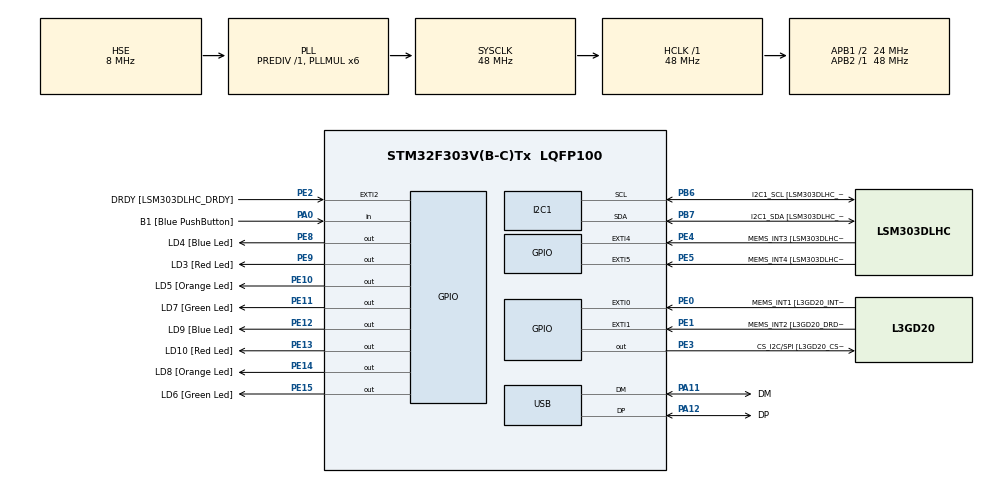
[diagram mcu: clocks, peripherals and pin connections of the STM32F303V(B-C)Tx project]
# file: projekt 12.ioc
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I2C1.Timing=0x00201D2B
I2C1.Timing-I2C=0x2000090E
Mcu.Family=STM32F3
Mcu.Name=STM32F303V(B-C)Tx
Mcu.Package=LQFP100
NVIC.PriorityGroup=NVIC_PRIORITYGROUP_0
NVIC.USB_LP_CAN_RX0_IRQn=true\:0\:0\:false\:false\:true\:false\:true\:true
PA0.GPIO_Label=B1 [Blue PushButton]
PA0.Signal=GPIO_Input
PA11.GPIO_Label=DM
PA11.Mode=Device
PA11.Signal=USB_DM
PA12.GPIO_Label=DP
PA12.Mode=Device
PA12.Signal=USB_DP
PA13.GPIO_Label=SWDIO
PA13.Mode=Serial_Wire
PA13.Signal=SYS_JTMS-SWDIO
PA14.GPIO_Label=SWCLK
PA14.Mode=Serial_Wire
PA14.Signal=SYS_JTCK-SWCLK
PA5.GPIO_Label=SPI1_SCK [L3GD20_SCL/SPC]
PA5.Signal=SPI1_SCK
PA6.GPIO_Label=SPI1_MISO [L3GD20_SA0/SDO]
PA6.Signal=SPI1_MISO
PA7.GPIO_Label=SPI1_MISO [L3GD20_SDA/SDI/SDO]
PA7.Signal=SPI1_MOSI
PB3.GPIO_Label=SWO
PB3.Signal=SYS_JTDO-TRACESWO
PB6.GPIO_Label=I2C1_SCL [LSM303DLHC_SCL]
PB6.GPIO_Pu=GPIO_PULLUP
PB6.Mode=I2C
PB6.Signal=I2C1_SCL
PB7.GPIO_Label=I2C1_SDA [LSM303DLHC_SDA]
PB7.GPIO_Pu=GPIO_PULLUP
PB7.Mode=I2C
PB7.Signal=I2C1_SDA
PC14-OSC32_IN.GPIO_Label=OSC32_IN
PC14-OSC32_IN.Signal=RCC_OSC32_IN
PC15-OSC32_OUT.GPIO_Label=OSC32_OUT
PC15-OSC32_OUT.Signal=RCC_OSC32_OUT
PE0.GPIO_Label=MEMS_INT1 [L3GD20_INT1]
PE0.GPIO_ModeDefaultEXTI=GPIO_MODE_EVT_RISING
PE0.Signal=GPXTI0
PE1.GPIO_Label=MEMS_INT2 [L3GD20_DRDY/INT2]
PE1.GPIO_ModeDefaultEXTI=GPIO_MODE_EVT_RISING
PE1.Signal=GPXTI1
PE10.GPIO_Label=LD5 [Orange Led]
PE10.Signal=GPIO_Output
PE11.GPIO_Label=LD7 [Green Led]
PE11.Signal=GPIO_Output
PE12.GPIO_Label=LD9 [Blue Led]
PE12.Signal=GPIO_Output
PE13.GPIO_Label=LD10 [Red Led]
PE13.Signal=GPIO_Output
PE14.GPIO_Label=LD8 [Orange Led]
PE14.Signal=GPIO_Output
PE15.GPIO_Label=LD6 [Green Led]
PE15.Signal=GPIO_Output
PE2.GPIO_Label=DRDY [LSM303DLHC_DRDY]
PE2.GPIO_ModeDefaultEXTI=GPIO_MODE_EVT_RISING
PE2.Signal=GPXTI2
PE3.GPIO_Label=CS_I2C/SPI [L3GD20_CS_I2C/SPI]
PE3.Signal=GPIO_Output
PE4.GPIO_Label=MEMS_INT3 [LSM303DLHC_INT1]
PE4.GPIO_ModeDefaultEXTI=GPIO_MODE_EVT_RISING
PE4.Signal=GPXTI4
PE5.GPIO_Label=MEMS_INT4 [LSM303DLHC_INT2]
PE5.GPIO_ModeDefaultEXTI=GPIO_MODE_EVT_RISING
PE5.Signal=GPXTI5
PE8.GPIO_Label=LD4 [Blue Led]
PE8.Signal=GPIO_Output
PE9.GPIO_Label=LD3 [Red Led]
PE9.Signal=GPIO_Output
PF0-OSC_IN.GPIO_Label=OSC_IN
PF0-OSC_IN.Mode=HSE-External-Clock-Source
PF0-OSC_IN.Signal=RCC_OSC_IN
PF1-OSC_OUT.GPIO_Label=OSC_OUT
PF1-OSC_OUT.Signal=RCC_OSC_OUT
ProjectManager.HeapSize=0x200
ProjectManager.StackSize=0x400
ProjectManager.TargetToolchain=STM32CubeIDE
RCC.AHBFreq_Value=48000000
RCC.APB1CLKDivider=RCC_HCLK_DIV2
RCC.APB1Freq_Value=24000000
RCC.APB1TimFreq_Value=48000000
RCC.APB2Freq_Value=48000000
RCC.APB2TimFreq_Value=48000000
RCC.CortexFreq_Value=48000000
RCC.HCLKFreq_Value=48000000
RCC.HSE_VALUE=8000000
RCC.HSI_VALUE=8000000
RCC.LSE_VALUE=32768
RCC.PLLMUL=RCC_PLL_MUL6
RCC.SYSCLKFreq_VALUE=48000000
RCC.SYSCLKSourceVirtual=RCC_SYSCLKSOURCE_PLLCLK
RCC.USBFreq_Value=48000000
TIM2.Period=10-1
TIM2.Prescaler=7200-1
TIM3.Period=100-1
TIM3.Prescaler=7200-1
USB_DEVICE.CLASS_NAME_FS=CDC
USB_DEVICE.VirtualMode=Cdc
USB_DEVICE.VirtualModeFS=Cdc_FS
VP_TIM2_VS_ClockSourceINT.Mode=Internal
VP_TIM3_VS_ClockSourceINT.Mode=Internal
VP_USB_DEVICE_VS_USB_DEVICE_CDC_FS.Mode=CDC_FS
board=STM32F3DISCOVERY

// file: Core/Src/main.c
/* USER CODE BEGIN Header */
/**
  ******************************************************************************
  * @file           : main.c
  * @brief          : Main program body
  ******************************************************************************
  * @attention
  *
  * Copyright (c) 2026 STMicroelectronics.
  * All rights reserved.
  *
  * This software is licensed under terms that can be found in the LICENSE file
  * in the root directory of this software component.
  * If no LICENSE file comes with this software, it is provided AS-IS.
  *
  ******************************************************************************
  */
/* USER CODE END Header */
#include "main.h"
#include "usb_device.h"
#include "usbd_cdc_if.h"
#define ACC_ADDR (0x19 << 1)
#define MAG_ADDR (0x1E << 1)
uint8_t state = 0;

I2C_HandleTypeDef hi2c1;

TIM_HandleTypeDef htim2;
TIM_HandleTypeDef htim3;

void SystemClock_Config(void);
static void MX_GPIO_Init(void);
static void MX_I2C1_Init(void);
static void MX_TIM2_Init(void);
static void MX_TIM3_Init(void);

/* USER CODE BEGIN 0 */
void MAG_Init(void)
{
    uint8_t data;

    // 🔹 CRA_REG_M (0x00)
    // 0x14 = 30 Hz
    data = 0x14;
    HAL_I2C_Mem_Write(&hi2c1, MAG_ADDR, 0x00, 1, &data, 1, HAL_MAX_DELAY);

    // 🔹 CRB_REG_M (0x01)
    // 0x20 = gain (±1.3 Gauss)
    data = 0x20;
    HAL_I2C_Mem_Write(&hi2c1, MAG_ADDR, 0x01, 1, &data, 1, HAL_MAX_DELAY);

    // 🔹 MR_REG_M (0x02)
    // 0x00 = continuous mode
    data = 0x00;
    HAL_I2C_Mem_Write(&hi2c1, MAG_ADDR, 0x02, 1, &data, 1, HAL_MAX_DELAY);
}
void ACC_Init(void)
{
    uint8_t data;

    // 🔹 CTRL_REG1 (0x20)
    // 0x57 = 100 Hz, wszystkie osie włączone
    data = 0x57;
    HAL_I2C_Mem_Write(&hi2c1, ACC_ADDR, 0x20, 1, &data, 1, HAL_MAX_DELAY);

    // 🔹 CTRL_REG4 (0x23)
    // 0x08 = High Resolution, ±2g
    data = 0x08;
    HAL_I2C_Mem_Write(&hi2c1, ACC_ADDR, 0x23, 1, &data, 1, HAL_MAX_DELAY);
}
/* USER CODE END 0 */

volatile int16_t ax, ay, az;
void acc_read(void)
{
	uint8_t data[6];
	HAL_I2C_Mem_Read(&hi2c1, ACC_ADDR, 0X28 | 0X80, 1, data, 6, HAL_MAX_DELAY);
	ax = data[0] | (data[1] << 8);
	ay = data[2] | (data[3] << 8);
	az = data[4] | (data[5] << 8);
}
volatile int16_t ax_m, ay_m, az_m;
void mag_read(void)
{
	uint8_t mag_data[6];
	HAL_I2C_Mem_Read(&hi2c1, MAG_ADDR, 0x03, 1, mag_data, 6, HAL_MAX_DELAY);
	ax_m = (mag_data[0] << 8) | mag_data[1];
	az_m = (mag_data[2] << 8) | mag_data[3];
	ay_m = (mag_data[4] << 8) | mag_data[5];
}

int main(void)
{

  /* MCU Configuration--------------------------------------------------------*/

  /* Reset of all peripherals, Initializes the Flash interface and the Systick. */
  HAL_Init();

  /* Configure the system clock */
  SystemClock_Config();

  /* Initialize all configured peripherals */
  MX_GPIO_Init();
  MX_I2C1_Init();
  MX_TIM2_Init();
  MX_TIM3_Init();
  MX_USB_DEVICE_Init();
  ACC_Init();
  MAG_Init();
  /* USER CODE BEGIN 2 */
HAL_TIM_Base_Start_IT(&htim3);
  /* USER CODE END 2 */

  /* Infinite loop */
  /* USER CODE BEGIN WHILE */
  while (1)
  {
	  if (state == 1)
	  {
		  HAL_GPIO_WritePin(GPIOE, GPIO_PIN_9, GPIO_PIN_SET);
	  }
	  else if (state == 2)
	  {
		  HAL_GPIO_WritePin(GPIOE, GPIO_PIN_9, GPIO_PIN_RESET);
	  }
	  else if (state == 4)
	  {
		  acc_read();
	  }
	  else if (state == 5)
	  {
		  mag_read();
	  }
    /* USER CODE END WHILE */

  }
}

void SystemClock_Config(void)
{
  RCC_OscInitTypeDef RCC_OscInitStruct = {0};
  RCC_ClkInitTypeDef RCC_ClkInitStruct = {0};
  RCC_PeriphCLKInitTypeDef PeriphClkInit = {0};

  /** Initializes the RCC Oscillators according to the specified parameters
  * in the RCC_OscInitTypeDef structure.
  */
  RCC_OscInitStruct.OscillatorType = RCC_OSCILLATORTYPE_HSI|RCC_OSCILLATORTYPE_HSE;
  RCC_OscInitStruct.HSEState = RCC_HSE_BYPASS;
  RCC_OscInitStruct.HSEPredivValue = RCC_HSE_PREDIV_DIV1;
  RCC_OscInitStruct.HSIState = RCC_HSI_ON;
  RCC_OscInitStruct.HSICalibrationValue = RCC_HSICALIBRATION_DEFAULT;
  RCC_OscInitStruct.PLL.PLLState = RCC_PLL_ON;
  RCC_OscInitStruct.PLL.PLLSource = RCC_PLLSOURCE_HSE;
  RCC_OscInitStruct.PLL.PLLMUL = RCC_PLL_MUL6;
  if (HAL_RCC_OscConfig(&RCC_OscInitStruct) != HAL_OK)
  {
    Error_Handler();
  }

  /** Initializes the CPU, AHB and APB buses clocks
  */
  RCC_ClkInitStruct.ClockType = RCC_CLOCKTYPE_HCLK|RCC_CLOCKTYPE_SYSCLK
                              |RCC_CLOCKTYPE_PCLK1|RCC_CLOCKTYPE_PCLK2;
  RCC_ClkInitStruct.SYSCLKSource = RCC_SYSCLKSOURCE_PLLCLK;
  RCC_ClkInitStruct.AHBCLKDivider = RCC_SYSCLK_DIV1;
  RCC_ClkInitStruct.APB1CLKDivider = RCC_HCLK_DIV2;
  RCC_ClkInitStruct.APB2CLKDivider = RCC_HCLK_DIV1;

  if (HAL_RCC_ClockConfig(&RCC_ClkInitStruct, FLASH_LATENCY_1) != HAL_OK)
  {
    Error_Handler();
  }
  PeriphClkInit.PeriphClockSelection = RCC_PERIPHCLK_USB|RCC_PERIPHCLK_I2C1;
  PeriphClkInit.I2c1ClockSelection = RCC_I2C1CLKSOURCE_HSI;
  PeriphClkInit.USBClockSelection = RCC_USBCLKSOURCE_PLL;
  if (HAL_RCCEx_PeriphCLKConfig(&PeriphClkInit) != HAL_OK)
  {
    Error_Handler();
  }
}

static void MX_I2C1_Init(void)
{

  hi2c1.Instance = I2C1;
  hi2c1.Init.Timing = 0x00201D2B;
  hi2c1.Init.OwnAddress1 = 0;
  hi2c1.Init.AddressingMode = I2C_ADDRESSINGMODE_7BIT;
  hi2c1.Init.DualAddressMode = I2C_DUALADDRESS_DISABLE;
  hi2c1.Init.OwnAddress2 = 0;
  hi2c1.Init.OwnAddress2Masks = I2C_OA2_NOMASK;
  hi2c1.Init.GeneralCallMode = I2C_GENERALCALL_DISABLE;
  hi2c1.Init.NoStretchMode = I2C_NOSTRETCH_DISABLE;
  if (HAL_I2C_Init(&hi2c1) != HAL_OK)
  {
    Error_Handler();
  }

  /** Configure Analogue filter
  */
  if (HAL_I2CEx_ConfigAnalogFilter(&hi2c1, I2C_ANALOGFILTER_ENABLE) != HAL_OK)
  {
    Error_Handler();
  }

  /** Configure Digital filter
  */
  if (HAL_I2CEx_ConfigDigitalFilter(&hi2c1, 0) != HAL_OK)
  {
    Error_Handler();
  }

}

static void MX_TIM2_Init(void)
{

  TIM_ClockConfigTypeDef sClockSourceConfig = {0};
  TIM_MasterConfigTypeDef sMasterConfig = {0};

  htim2.Instance = TIM2;
  htim2.Init.Prescaler = 7200-1;
  htim2.Init.CounterMode = TIM_COUNTERMODE_UP;
  htim2.Init.Period = 10-1;
  htim2.Init.ClockDivision = TIM_CLOCKDIVISION_DIV1;
  htim2.Init.AutoReloadPreload = TIM_AUTORELOAD_PRELOAD_DISABLE;
  if (HAL_TIM_Base_Init(&htim2) != HAL_OK)
  {
    Error_Handler();
  }
  sClockSourceConfig.ClockSource = TIM_CLOCKSOURCE_INTERNAL;
  if (HAL_TIM_ConfigClockSource(&htim2, &sClockSourceConfig) != HAL_OK)
  {
    Error_Handler();
  }
  sMasterConfig.MasterOutputTrigger = TIM_TRGO_RESET;
  sMasterConfig.MasterSlaveMode = TIM_MASTERSLAVEMODE_DISABLE;
  if (HAL_TIMEx_MasterConfigSynchronization(&htim2, &sMasterConfig) != HAL_OK)
  {
    Error_Handler();
  }

}

static void MX_TIM3_Init(void)
{

  TIM_ClockConfigTypeDef sClockSourceConfig = {0};
  TIM_MasterConfigTypeDef sMasterConfig = {0};

  htim3.Instance = TIM3;
  htim3.Init.Prescaler = 7200-1;
  htim3.Init.CounterMode = TIM_COUNTERMODE_UP;
  htim3.Init.Period = 100-1;
  htim3.Init.ClockDivision = TIM_CLOCKDIVISION_DIV1;
  htim3.Init.AutoReloadPreload = TIM_AUTORELOAD_PRELOAD_DISABLE;
  if (HAL_TIM_Base_Init(&htim3) != HAL_OK)
  {
    Error_Handler();
  }
  sClockSourceConfig.ClockSource = TIM_CLOCKSOURCE_INTERNAL;
  if (HAL_TIM_ConfigClockSource(&htim3, &sClockSourceConfig) != HAL_OK)
  {
    Error_Handler();
  }
  sMasterConfig.MasterOutputTrigger = TIM_TRGO_RESET;
  sMasterConfig.MasterSlaveMode = TIM_MASTERSLAVEMODE_DISABLE;
  if (HAL_TIMEx_MasterConfigSynchronization(&htim3, &sMasterConfig) != HAL_OK)
  {
    Error_Handler();
  }

}

static void MX_GPIO_Init(void)
{
  GPIO_InitTypeDef GPIO_InitStruct = {0};

  /* GPIO Ports Clock Enable */
  __HAL_RCC_GPIOE_CLK_ENABLE();
  __HAL_RCC_GPIOC_CLK_ENABLE();
  __HAL_RCC_GPIOF_CLK_ENABLE();
  __HAL_RCC_GPIOA_CLK_ENABLE();
  __HAL_RCC_GPIOB_CLK_ENABLE();

  /*Configure GPIO pin Output Level */
  HAL_GPIO_WritePin(GPIOE, CS_I2C_SPI_Pin|LD4_Pin|LD3_Pin|LD5_Pin
                          |LD7_Pin|LD9_Pin|LD10_Pin|LD8_Pin
                          |LD6_Pin, GPIO_PIN_RESET);

  /*Configure GPIO pins : DRDY_Pin MEMS_INT3_Pin MEMS_INT4_Pin MEMS_INT1_Pin
                           MEMS_INT2_Pin */
  GPIO_InitStruct.Pin = DRDY_Pin|MEMS_INT3_Pin|MEMS_INT4_Pin|MEMS_INT1_Pin
                          |MEMS_INT2_Pin;
  GPIO_InitStruct.Mode = GPIO_MODE_EVT_RISING;
  GPIO_InitStruct.Pull = GPIO_NOPULL;
  HAL_GPIO_Init(GPIOE, &GPIO_InitStruct);

  /*Configure GPIO pins : CS_I2C_SPI_Pin LD4_Pin LD3_Pin LD5_Pin
                           LD7_Pin LD9_Pin LD10_Pin LD8_Pin
                           LD6_Pin */
  GPIO_InitStruct.Pin = CS_I2C_SPI_Pin|LD4_Pin|LD3_Pin|LD5_Pin
                          |LD7_Pin|LD9_Pin|LD10_Pin|LD8_Pin
                          |LD6_Pin;
  GPIO_InitStruct.Mode = GPIO_MODE_OUTPUT_PP;
  GPIO_InitStruct.Pull = GPIO_NOPULL;
  GPIO_InitStruct.Speed = GPIO_SPEED_FREQ_LOW;
  HAL_GPIO_Init(GPIOE, &GPIO_InitStruct);

  /*Configure GPIO pin : B1_Pin */
  GPIO_InitStruct.Pin = B1_Pin;
  GPIO_InitStruct.Mode = GPIO_MODE_INPUT;
  GPIO_InitStruct.Pull = GPIO_NOPULL;
  HAL_GPIO_Init(B1_GPIO_Port, &GPIO_InitStruct);

  /*Configure GPIO pins : SPI1_SCK_Pin SPI1_MISO_Pin SPI1_MISOA7_Pin */
  GPIO_InitStruct.Pin = SPI1_SCK_Pin|SPI1_MISO_Pin|SPI1_MISOA7_Pin;
  GPIO_InitStruct.Mode = GPIO_MODE_AF_PP;
  GPIO_InitStruct.Pull = GPIO_NOPULL;
  GPIO_InitStruct.Speed = GPIO_SPEED_FREQ_HIGH;
  GPIO_InitStruct.Alternate = GPIO_AF5_SPI1;
  HAL_GPIO_Init(GPIOA, &GPIO_InitStruct);

}

/* USER CODE BEGIN 4 */
uint8_t volatile time = 0;
void HAL_TIM_PeriodElapsedCallback(TIM_HandleTypeDef *htim)
{
	if(htim->Instance == TIM3)
	{
		if(state == 3)
		{
			time++;
			if(time == 5)
			{
				HAL_GPIO_TogglePin(GPIOE, GPIO_PIN_9);
				time = 0;
			}
		}
	}
}
/* USER CODE END 4 */

void Error_Handler(void)
{
  __disable_irq();
  while (1)
  {
  }
}
